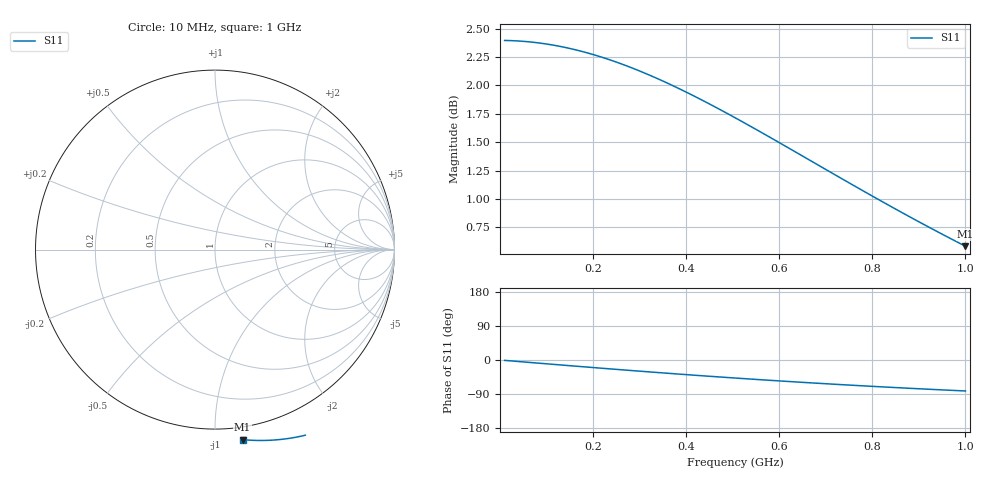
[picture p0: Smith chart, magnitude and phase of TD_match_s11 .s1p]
#  HZ  S  RI  R  50.00
! Rohde & Schwarz Vector Network Analyzer
! Rohde-Schwarz,ZND-2Port,1328517092100779,2.70
! Created: UTC 4/25/2023, 5:14:36 AM
! freq[Hz]  re:S11  im:S11
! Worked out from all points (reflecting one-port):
!   100 points, 10 MHz to 1 GHz, reference 50 ohm
!   lowest |S11| = 0.6 dB at 1 GHz (marker M1)
!   phase of S11 starts at -1 deg and turns -81 deg over the sweep
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1e7  1.317 -0.0231
4e7  1.314 -0.0924
7e7  1.305 -0.1611
1e8  1.293 -0.2288
1.4e8  1.269 -0.3168
1.7e8  1.247 -0.3807
2e8  1.221 -0.4422
2.3e8  1.192 -0.5013
2.6e8  1.16 -0.5576
3e8  1.113 -0.6281
3.3e8  1.074 -0.6773
3.6e8  1.034 -0.7232
3.9e8  0.9922 -0.7659
4.2e8  0.949 -0.8053
4.5e8  0.9049 -0.8413
4.8e8  0.86 -0.8742
5.1e8  0.8147 -0.9039
5.4e8  0.7693 -0.9306
5.7e8  0.7238 -0.9543
6e8  0.6786 -0.9752
6.3e8  0.6338 -0.9935
6.9e8  0.546 -1.023
7.2e8  0.5032 -1.034
7.6e8  0.4476 -1.046
8.2e8  0.3675 -1.057
8.8e8  0.2917 -1.063
9.4e8  0.2204 -1.063
1e9  0.1537 -1.059
